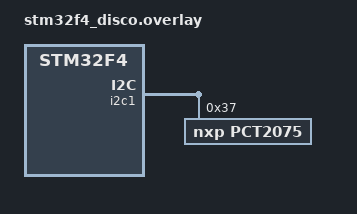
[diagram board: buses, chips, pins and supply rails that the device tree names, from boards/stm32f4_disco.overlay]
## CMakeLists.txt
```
# SPDX-License-Identifier: Apache-2.0

cmake_minimum_required(VERSION 3.13.1)
include($ENV{ZEPHYR_BASE}/cmake/app/boilerplate.cmake NO_POLICY_SCOPE)
project(pct2075)

FILE(GLOB app_sources src/*.c)
target_sources(app PRIVATE ${app_sources})
```

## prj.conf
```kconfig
CONFIG_STDOUT_CONSOLE=y
CONFIG_I2C=y
CONFIG_SENSOR=y
CONFIG_PCT2075=y
```

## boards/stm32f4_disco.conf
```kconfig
CONFIG_I2C_1=y
CONFIG_LOG=y
```

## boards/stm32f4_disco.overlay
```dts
&i2c1 {
	pct2075: pct2075@37 {
		compatible = "nxp,pct2075";
		reg = <0x37>;
		label = "PCT2075";
	};
};
```

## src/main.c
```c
/*
 * Copyright (c) 2020 Kwon Tae-young <tykwon@m2i.co.kr>
 *
 * SPDX-License-Identifier: Apache-2.0
 */

#include <zephyr.h>
#include <device.h>
#include <drivers/sensor.h>
#include <sys/printk.h>

void main(void)
{
	struct device *dev;
	struct sensor_value temp_value;
	int ret;

	dev = device_get_binding(DT_INST_0_NXP_PCT2075_LABEL);
	if (dev == NULL) {
		printk("Failed to get PCT2075 device binding\n");
		return;
	}

	printk("Device %s - %p is ready\n", dev->config->name, dev);
	/*
	while (1) {
		ret = sensor_sample_fetch(dev);
		if (ret) {
			printk("Failed to fetch measurements (%d)\n", ret);
			return;
		}

		ret = sensor_channel_get(dev, SENSOR_CHAN_AMBIENT_TEMP,
					 &temp_value);
		if (ret) {
			printk("Failed to get measurements (%d)\n", ret);
			return;
		}

		printk("temp is %d.%d oC\n", temp_value.val1, temp_value.val2);

		k_sleep(K_MSEC(1000));
	}
	*/
}
```
